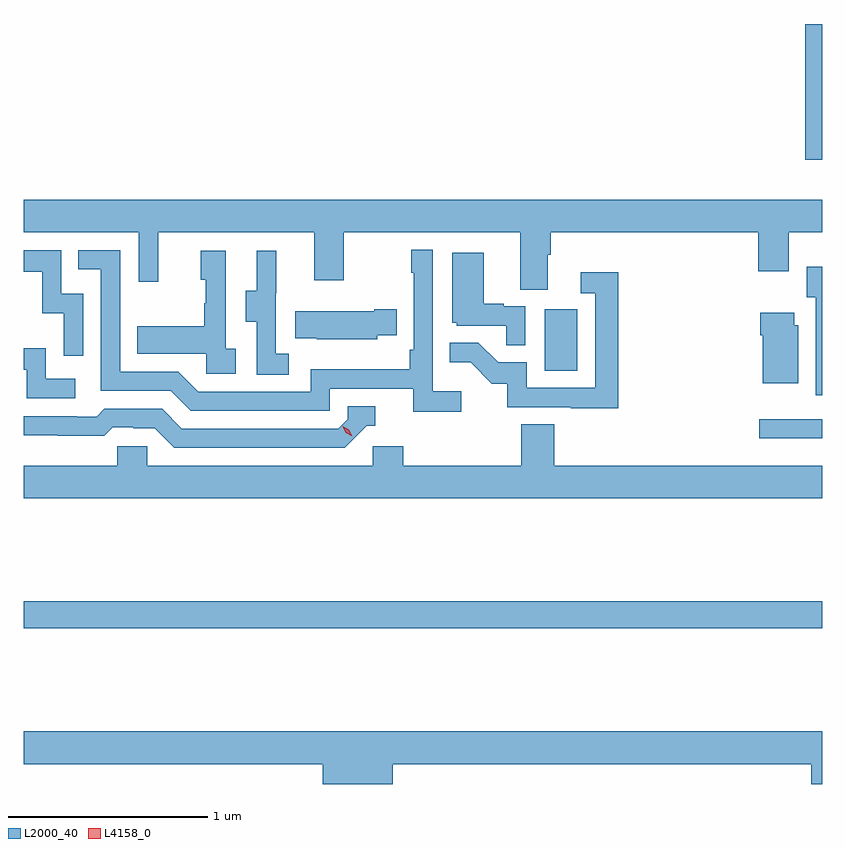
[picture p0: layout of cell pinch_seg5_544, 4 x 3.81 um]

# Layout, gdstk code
import gdstk
lib = gdstk.Library(unit=1e-6, precision=1e-09)
def R(c, l, rs):  # rectangles x0, y0, x1, y1
    for r in rs: c.add(gdstk.rectangle(r[:2], r[2:], *l))
def P(c, l, *ps):  # polygons
    for p in ps: c.add(gdstk.Polygon(p, *l))
L2000_40 = (2000, 40)
L4158_0 = (4158, 0)

pinch_seg5_544 = lib.new_cell('pinch_seg5_544')
R(pinch_seg5_544, L2000_40, [(974.607,849.448,978.607,849.584), (978.291,850.4,978.607,850.497), (977.216,850.74,977.38,851.047), (978.523,851.796,978.607,852.476)])
P(pinch_seg5_544, L2000_40, [(974.607,851.432),(975.183,851.432),(975.183,851.184),(975.281,851.184),(975.281,851.432),(976.061,851.432),(976.061,851.193),(976.209,851.193),(976.209,851.432),(977.093,851.432),(977.093,851.146),(977.233,851.146),(977.233,851.32),(977.246,851.32),(977.246,851.432),(978.287,851.432),(978.287,851.238),(978.439,851.238),(978.439,851.432),(978.607,851.432),(978.607,851.596),(974.607,851.596)],
  [(976.798,850.636),(976.656,850.636),(976.656,851.344),(976.548,851.344),(976.548,851.231),(976.56,851.231),(976.56,850.843),(976.54,850.843),(976.54,850.747),(976.044,850.747),(976.044,850.635),(975.48,850.635),(975.381,850.734),(975.09,850.734),(975.09,851.343),(974.881,851.343),(974.881,851.247),(974.994,851.247),(974.994,850.638),(975.344,850.638),(975.443,850.539),(976.14,850.539),(976.14,850.65),(976.559,850.65),(976.559,850.534),(976.798,850.534)],
  [(974.904,851.124),(974.796,851.124),(974.796,851.343),(974.607,851.343),(974.607,851.235),(974.699,851.235),(974.699,851.027),(974.808,851.027),(974.808,850.815),(974.904,850.815)],
  [(975.934,850.823),(975.87,850.823),(975.87,851.127),(975.872,851.127),(975.872,851.341),(975.773,851.341),(975.773,851.139),(975.719,851.139),(975.719,850.984),(975.774,850.984),(975.774,850.72),(975.934,850.72)],
  [(975.67,850.85),(975.618,850.85),(975.618,851.341),(975.494,851.341),(975.494,851.196),(975.52,851.196),(975.52,851.078),(975.51,851.078),(975.51,850.963),(975.175,850.963),(975.175,850.823),(975.522,850.823),(975.522,850.725),(975.67,850.725)],
  [(977.118,851.061),(977.012,851.061),(977.012,851.074),(976.912,851.074),(976.912,851.329),(976.754,851.329),(976.754,850.98),(976.776,850.98),(976.776,850.965),(977.023,850.965),(977.023,850.867),(977.118,850.867)],
  [(978.607,851.26),(978.53,851.26),(978.53,851.106),(978.575,851.106),(978.575,850.617),(978.607,850.617)],
  [(977.585,851.233),(977.397,851.233),(977.397,851.127),(977.469,851.127),(977.469,850.653),(977.127,850.653),(977.127,850.782),(976.983,850.782),(976.885,850.88),(976.741,850.88),(976.741,850.781),(976.845,850.781),(976.952,850.674),(977.029,850.674),(977.029,850.557),(977.347,850.557),(977.347,850.552),(977.585,850.552)],
  [(976.377,850.916),(976.475,850.916),(976.475,851.046),(976.364,851.046),(976.364,851.038),(975.967,851.038),(975.967,850.901),(976.075,850.901),(976.075,850.898),(976.377,850.898)],
  [(978.487,850.968),(978.466,850.968),(978.466,851.029),(978.296,851.029),(978.296,850.916),(978.308,850.916),(978.308,850.676),(978.487,850.676)],
  [(974.866,850.698),(974.718,850.698),(974.718,850.852),(974.607,850.852),(974.607,850.743),(974.622,850.743),(974.622,850.602),(974.866,850.602)],
  [(976.326,850.464),(976.369,850.464),(976.369,850.56),(976.23,850.56),(976.23,850.497),(976.182,850.449),(975.399,850.449),(975.3,850.548),(975.011,850.548),(974.972,850.509),(974.873,850.509),(974.873,850.512),(974.607,850.512),(974.607,850.415),(974.778,850.415),(974.778,850.413),(975.011,850.413),(975.053,850.455),(975.156,850.455),(975.156,850.452),(975.263,850.452),(975.362,850.353),(976.215,850.353)],
  [(978.607,850.264),(977.264,850.264),(977.264,850.472),(977.099,850.472),(977.099,850.264),(976.508,850.264),(976.508,850.362),(976.356,850.362),(976.356,850.264),(975.225,850.264),(975.225,850.362),(975.075,850.362),(975.075,850.264),(974.607,850.264),(974.607,850.1),(978.607,850.1)],
  [(976.456,848.768),(978.551,848.768),(978.551,848.669),(978.607,848.669),(978.607,848.932),(974.607,848.932),(974.607,848.768),(976.106,848.768),(976.106,848.669),(976.456,848.669)])
P(pinch_seg5_544, L4158_0, [(976.252,850.41),(976.221,850.429),(976.205,850.462),(976.205,850.462),(976.205,850.462),(976.236,850.443),(976.252,850.41),(976.252,850.41)])

lib.write_gds('pinch_seg5_544.gds')
